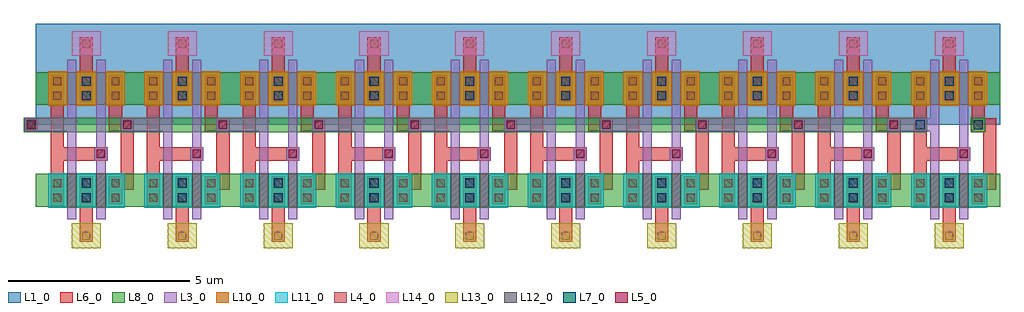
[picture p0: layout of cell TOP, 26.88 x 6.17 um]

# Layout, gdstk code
import gdstk
lib = gdstk.Library(unit=1e-6, precision=1e-09)
def R(c, l, rs):  # rectangles x0, y0, x1, y1
    for r in rs: c.add(gdstk.rectangle(r[:2], r[2:], *l))
def A(c, l, x, y, w, h, nx, ny, dx, dy):  # array of equal rectangles
    R(c, l, [(x+i*dx, y+j*dy, x+i*dx+w, y+j*dy+h) for i in range(nx) for j in range(ny)])
def P(c, l, *ps):  # polygons
    for p in ps: c.add(gdstk.Polygon(p, *l))
L1_0 = (1, 0)
L3_0 = (3, 0)
L4_0 = (4, 0)
L5_0 = (5, 0)
L6_0 = (6, 0)
L7_0 = (7, 0)
L8_0 = (8, 0)
L10_0 = (10, 0)
L11_0 = (11, 0)
L12_0 = (12, 0)
L13_0 = (13, 0)
L14_0 = (14, 0)

d_pmos = lib.new_cell('D$PMOS')

d_pmos_1 = lib.new_cell('D$PMOS$1')

d_nmos = lib.new_cell('D$NMOS')

d_nmos_1 = lib.new_cell('D$NMOS$1')

inv2 = lib.new_cell('INV2')
inv2.add(gdstk.Reference(d_pmos, (-0.4,2.8)))
inv2.add(gdstk.Reference(d_pmos_1, (0.4,2.8)))
inv2.add(gdstk.Reference(d_nmos, (-0.4,0)))
inv2.add(gdstk.Reference(d_nmos_1, (0.4,0)))

device_d_pmos_1 = lib.new_cell('DEVICE_D$PMOS$1')
R(device_d_pmos_1, L10_0, [(0.125,-0.475,0.65,0.475)])

device_d_nmos_1 = lib.new_cell('DEVICE_D$NMOS$1')
R(device_d_nmos_1, L11_0, [(0.125,-0.475,0.65,0.475)])

circuit_inv2 = lib.new_cell('CIRCUIT_INV2')
R(circuit_inv2, L4_0, [(0.69,-0.31,0.91,-0.09), (0.69,0.09,0.91,0.31), (0.69,2.49,0.91,2.71), (0.69,2.89,0.91,3.11)])
R(circuit_inv2, L6_0, [(0.62,-0.38,0.98,0.38), (0.62,2.42,0.98,3.18)])
P(circuit_inv2, L6_0, [(0.8,0.02),(0.8,0.38),(0.94,0.38),(0.94,1.62),(0.62,1.62),(0.62,2.42),(0.98,2.42),(0.98,1.98),(1.3,1.98),(1.3,0.02)])
R(circuit_inv2, L10_0, [(0.525,2.325,1.05,3.275)])
R(circuit_inv2, L11_0, [(0.525,-0.475,1.05,0.475)])
circuit_inv2.add(gdstk.Reference(device_d_pmos_1, (0.4,2.8)))
circuit_inv2.add(gdstk.Reference(device_d_nmos_1, (0.4,0)))

device_d_pmos = lib.new_cell('DEVICE_D$PMOS')
R(device_d_pmos, L3_0, [(-0.125,-0.475,0.125,0.475)])

device_d_nmos = lib.new_cell('DEVICE_D$NMOS')
R(device_d_nmos, L3_0, [(-0.125,-0.475,0.125,0.475)])

circuit_inv2_1 = lib.new_cell('CIRCUIT_INV2$1')
R(circuit_inv2_1, L3_0, [(-0.525,-0.8,-0.275,0.8), (-0.525,-0.25,-0.275,2.25), (-1.7,1.62,-0.4,1.98), (-0.525,2,-0.275,3.6)])
R(circuit_inv2_1, L5_0, [(-1.63,1.69,-1.41,1.91)])
circuit_inv2_1.add(gdstk.Reference(device_d_pmos, (-0.4,2.8)))
circuit_inv2_1.add(gdstk.Reference(device_d_nmos, (-0.4,0)))

net__5 = lib.new_cell('NET_$5')
R(net__5, L4_0, [(2.39,0.49,2.61,0.71), (2.39,0.89,2.61,1.11), (2.39,3.29,2.61,3.51), (2.39,3.69,2.61,3.91)])
net__5.add(gdstk.Reference(circuit_inv2, (1.7,0.8)))
net__5.add(gdstk.Reference(circuit_inv2_1, (4.34,0.8)))

device_d_pmos_2 = lib.new_cell('DEVICE_D$PMOS$2')
R(device_d_pmos_2, L10_0, [(-0.65,-0.475,-0.125,0.475)])

device_d_pmos_1_1 = lib.new_cell('DEVICE_D$PMOS$1$1')
R(device_d_pmos_1_1, L3_0, [(-0.125,-0.475,0.125,0.475)])

device_d_nmos_2 = lib.new_cell('DEVICE_D$NMOS$2')
R(device_d_nmos_2, L11_0, [(-0.65,-0.475,-0.125,0.475)])

device_d_nmos_1_1 = lib.new_cell('DEVICE_D$NMOS$1$1')
R(device_d_nmos_1_1, L3_0, [(-0.125,-0.475,0.125,0.475)])

net__1__3 = lib.new_cell('NET_$1:$3')
R(net__1__3, L3_0, [(1.975,0,2.225,1.6), (1.975,0.55,2.225,3.05), (1.92,1.62,2.28,1.98), (1.975,2.8,2.225,4.4)])
R(net__1__3, L4_0, [(0.79,0.49,1.01,0.71), (0.79,0.89,1.01,1.11), (0.79,3.29,1.01,3.51), (0.79,3.69,1.01,3.91)])
R(net__1__3, L5_0, [(1.99,1.69,2.21,1.91)])
R(net__1__3, L6_0, [(0.72,0.38,1.08,3.22), (0.72,0.42,1.08,1.18), (0.9,1.62,2.28,1.98), (0.72,3.22,1.08,3.98)])
R(net__1__3, L10_0, [(0.65,3.125,1.175,4.075)])
R(net__1__3, L11_0, [(0.65,0.325,1.175,1.275)])
net__1__3.add(gdstk.Reference(device_d_pmos_2, (1.3,3.6)))
net__1__3.add(gdstk.Reference(device_d_pmos_1_1, (2.1,3.6)))
net__1__3.add(gdstk.Reference(device_d_nmos_2, (1.3,0.8)))
net__1__3.add(gdstk.Reference(device_d_nmos_1_1, (2.1,0.8)))

inv2pair = lib.new_cell('INV2PAIR')
inv2pair.add(gdstk.Reference(inv2, (1.7,0.8)))
inv2pair.add(gdstk.Reference(inv2, (4.34,0.8)))
inv2pair.add(gdstk.Reference(net__5, (0,0)))
inv2pair.add(gdstk.Reference(net__1__3, (0,0)))

circuit_inv2_2 = lib.new_cell('CIRCUIT_INV2$2')
R(circuit_inv2_2, L3_0, [(0.275,-0.8,0.525,0.8), (0.275,-0.25,0.525,2.25), (0.22,0.82,0.58,1.18), (0.275,2,0.525,3.6)])
R(circuit_inv2_2, L4_0, [(-0.91,-0.31,-0.69,-0.09), (-0.91,0.09,-0.69,0.31), (-0.91,2.49,-0.69,2.71), (-0.91,2.89,-0.69,3.11)])
R(circuit_inv2_2, L5_0, [(0.29,0.89,0.51,1.11)])
R(circuit_inv2_2, L6_0, [(-0.98,-0.42,-0.62,2.42), (-0.98,-0.38,-0.62,0.38), (-0.8,0.82,0.58,1.18), (-0.98,2.42,-0.62,3.18)])
R(circuit_inv2_2, L10_0, [(-1.05,2.325,-0.525,3.275)])
R(circuit_inv2_2, L11_0, [(-1.05,-0.475,-0.525,0.475)])
circuit_inv2_2.add(gdstk.Reference(device_d_pmos_2, (-0.4,2.8)))
circuit_inv2_2.add(gdstk.Reference(device_d_pmos_1_1, (0.4,2.8)))
circuit_inv2_2.add(gdstk.Reference(device_d_nmos_2, (-0.4,0)))
circuit_inv2_2.add(gdstk.Reference(device_d_nmos_1_1, (0.4,0)))

circuit_inv2pair = lib.new_cell('CIRCUIT_INV2PAIR')
R(circuit_inv2pair, L4_0, [(3.43,0.49,3.65,0.71), (3.43,0.89,3.65,1.11), (3.43,3.29,3.65,3.51), (3.43,3.69,3.65,3.91)])
circuit_inv2pair.add(gdstk.Reference(circuit_inv2_2, (4.34,0.8)))

circuit_inv2pair_1 = lib.new_cell('CIRCUIT_INV2PAIR$1')
circuit_inv2pair_1.add(gdstk.Reference(circuit_inv2_1, (1.7,0.8)))

net_fb = lib.new_cell('NET_FB')
R(net_fb, L4_0, [(22.85,-0.31,23.07,-0.09), (22.85,0.09,23.07,0.31), (22.85,2.49,23.07,2.71), (22.85,2.89,23.07,3.11)])
R(net_fb, L6_0, [(-1.7,1.62,-1.34,1.98)])
R(net_fb, L7_0, [(-1.645,1.675,-1.395,1.925), (22.835,1.675,23.085,1.925)])
R(net_fb, L8_0, [(-1.72,1.6,23.16,2)])
net_fb.add(gdstk.Reference(circuit_inv2pair, (19.42,-0.8)))
net_fb.add(gdstk.Reference(circuit_inv2pair_1, (-1.7,-0.8)))

circuit_inv2pair_2 = lib.new_cell('CIRCUIT_INV2PAIR$2')
R(circuit_inv2pair_2, L4_0, [(5.03,0.49,5.25,0.71), (5.03,0.89,5.25,1.11), (5.03,3.29,5.25,3.51), (5.03,3.69,5.25,3.91)])
circuit_inv2pair_2.add(gdstk.Reference(circuit_inv2, (4.34,0.8)))

net_osc = lib.new_cell('NET_OSC')
R(net_osc, L4_0, [(24.45,-0.31,24.67,-0.09), (24.45,0.09,24.67,0.31), (24.45,2.49,24.67,2.71), (24.45,2.89,24.67,3.11)])
R(net_osc, L7_0, [(24.435,1.675,24.685,1.925)])
R(net_osc, L8_0, [(24.36,1.6,24.76,2)])
net_osc.add(gdstk.Reference(circuit_inv2pair_2, (19.42,-0.8)))

device_d_pmos_3 = lib.new_cell('DEVICE_D$PMOS$3')
R(device_d_pmos_3, L10_0, [(0.125,-0.475,0.675,0.475)])

device_d_pmos_1_2 = lib.new_cell('DEVICE_D$PMOS$1$2')
R(device_d_pmos_1_2, L10_0, [(-0.675,-0.475,-0.125,0.475)])

circuit_inv2_3 = lib.new_cell('CIRCUIT_INV2$3')
R(circuit_inv2_3, L4_0, [(-0.11,2.49,0.11,2.71), (-0.11,2.49,0.11,2.71), (-0.11,2.89,0.11,3.11), (-0.11,2.89,0.11,3.11)])
R(circuit_inv2_3, L6_0, [(-0.18,2.42,0.18,3.18), (-0.18,2.42,0.18,3.18)])
R(circuit_inv2_3, L7_0, [(-0.125,2.475,0.125,2.725), (-0.125,2.875,0.125,3.125)])
R(circuit_inv2_3, L8_0, [(-1.4,2.35,1.4,3.25)])
R(circuit_inv2_3, L10_0, [(-0.275,2.325,0.275,3.275)])
circuit_inv2_3.add(gdstk.Reference(device_d_pmos_3, (-0.4,2.8)))
circuit_inv2_3.add(gdstk.Reference(device_d_pmos_1_2, (0.4,2.8)))

circuit_inv2pair_3 = lib.new_cell('CIRCUIT_INV2PAIR$3')
R(circuit_inv2pair_3, L4_0, [(1.59,3.29,1.81,3.51), (1.59,3.29,1.81,3.51), (4.23,3.29,4.45,3.51), (4.23,3.29,4.45,3.51), (1.59,3.69,1.81,3.91), (1.59,3.69,1.81,3.91), (4.23,3.69,4.45,3.91), (4.23,3.69,4.45,3.91)])
R(circuit_inv2pair_3, L6_0, [(1.52,3.22,1.88,3.98), (1.52,3.22,1.88,3.98), (4.16,3.22,4.52,3.98), (4.16,3.22,4.52,3.98)])
circuit_inv2pair_3.add(gdstk.Reference(circuit_inv2_3, (1.7,0.8)))
circuit_inv2pair_3.add(gdstk.Reference(circuit_inv2_3, (4.34,0.8)))

device_d_pmos_4 = lib.new_cell('DEVICE_D$PMOS$4')
R(device_d_pmos_4, L1_0, [(-0.125,-0.475,0.125,0.475)])

device_d_pmos_1_3 = lib.new_cell('DEVICE_D$PMOS$1$3')
R(device_d_pmos_1_3, L1_0, [(-0.125,-0.475,0.125,0.475)])

circuit_inv2_4 = lib.new_cell('CIRCUIT_INV2$4')
R(circuit_inv2_4, L1_0, [(-1.4,1.8,1.4,4.58)])
R(circuit_inv2_4, L4_0, [(-0.11,3.93,0.11,4.15)])
R(circuit_inv2_4, L14_0, [(-0.4,3.7,0.4,4.38)])
circuit_inv2_4.add(gdstk.Reference(device_d_pmos_4, (-0.4,2.8)))
circuit_inv2_4.add(gdstk.Reference(device_d_pmos_1_3, (0.4,2.8)))

circuit_inv2pair_4 = lib.new_cell('CIRCUIT_INV2PAIR$4')
circuit_inv2pair_4.add(gdstk.Reference(circuit_inv2_4, (1.7,0.8)))
circuit_inv2pair_4.add(gdstk.Reference(circuit_inv2_4, (4.34,0.8)))

net_vdd = lib.new_cell('NET_VDD')
R(net_vdd, L4_0, [(-0.11,2.49,0.11,2.71), (-0.11,2.49,0.11,2.71), (2.53,2.49,2.75,2.71), (2.53,2.49,2.75,2.71), (5.17,2.49,5.39,2.71), (5.17,2.49,5.39,2.71), (7.81,2.49,8.03,2.71), (7.81,2.49,8.03,2.71), (10.45,2.49,10.67,2.71), (10.45,2.49,10.67,2.71), (13.09,2.49,13.31,2.71), (13.09,2.49,13.31,2.71), (15.73,2.49,15.95,2.71), (15.73,2.49,15.95,2.71), (18.37,2.49,18.59,2.71), (18.37,2.49,18.59,2.71), (21.01,2.49,21.23,2.71), (21.01,2.49,21.23,2.71), (23.65,2.49,23.87,2.71), (23.65,2.49,23.87,2.71), (-0.11,2.89,0.11,3.11), (-0.11,2.89,0.11,3.11), (2.53,2.89,2.75,3.11), (2.53,2.89,2.75,3.11), (5.17,2.89,5.39,3.11), (5.17,2.89,5.39,3.11), (7.81,2.89,8.03,3.11), (7.81,2.89,8.03,3.11), (10.45,2.89,10.67,3.11), (10.45,2.89,10.67,3.11), (13.09,2.89,13.31,3.11), (13.09,2.89,13.31,3.11), (15.73,2.89,15.95,3.11), (15.73,2.89,15.95,3.11), (18.37,2.89,18.59,3.11), (18.37,2.89,18.59,3.11), (21.01,2.89,21.23,3.11), (21.01,2.89,21.23,3.11), (23.65,2.89,23.87,3.11), (23.65,2.89,23.87,3.11)])
A(net_vdd, L6_0, -0.18, 3.1, 0.36, 1.12, 10, 1, 2.64, 0)
R(net_vdd, L6_0, [(-0.18,2.42,0.18,3.18), (-0.18,2.42,0.18,3.18), (2.46,2.42,2.82,3.18), (2.46,2.42,2.82,3.18), (5.1,2.42,5.46,3.18), (5.1,2.42,5.46,3.18), (7.74,2.42,8.1,3.18), (7.74,2.42,8.1,3.18), (10.38,2.42,10.74,3.18), (10.38,2.42,10.74,3.18), (13.02,2.42,13.38,3.18), (13.02,2.42,13.38,3.18), (15.66,2.42,16.02,3.18), (15.66,2.42,16.02,3.18), (18.3,2.42,18.66,3.18), (18.3,2.42,18.66,3.18), (20.94,2.42,21.3,3.18), (20.94,2.42,21.3,3.18), (23.58,2.42,23.94,3.18), (23.58,2.42,23.94,3.18)])
net_vdd.add(gdstk.Reference(circuit_inv2pair_3, (19.42,-0.8)))
net_vdd.add(gdstk.Reference(circuit_inv2pair_4, (19.42,-0.8)))
net_vdd.add(gdstk.Reference(circuit_inv2pair_3, (-1.7,-0.8)))
net_vdd.add(gdstk.Reference(circuit_inv2pair_4, (-1.7,-0.8)))
net_vdd.add(gdstk.Reference(circuit_inv2pair_3, (3.58,-0.8)))
net_vdd.add(gdstk.Reference(circuit_inv2pair_4, (3.58,-0.8)))
net_vdd.add(gdstk.Reference(circuit_inv2pair_3, (8.86,-0.8)))
net_vdd.add(gdstk.Reference(circuit_inv2pair_4, (8.86,-0.8)))
net_vdd.add(gdstk.Reference(circuit_inv2pair_3, (14.14,-0.8)))
net_vdd.add(gdstk.Reference(circuit_inv2pair_4, (14.14,-0.8)))

device_d_nmos_3 = lib.new_cell('DEVICE_D$NMOS$3')
R(device_d_nmos_3, L12_0, [(-0.125,-0.475,0.125,0.475)])

device_d_nmos_1_2 = lib.new_cell('DEVICE_D$NMOS$1$2')
R(device_d_nmos_1_2, L12_0, [(-0.125,-0.475,0.125,0.475)])

circuit_inv2_5 = lib.new_cell('CIRCUIT_INV2$5')
R(circuit_inv2_5, L4_0, [(-0.11,-1.36,0.11,-1.14)])
R(circuit_inv2_5, L13_0, [(-0.4,-1.59,0.4,-0.91)])
circuit_inv2_5.add(gdstk.Reference(device_d_nmos_3, (-0.4,0)))
circuit_inv2_5.add(gdstk.Reference(device_d_nmos_1_2, (0.4,0)))

circuit_inv2pair_5 = lib.new_cell('CIRCUIT_INV2PAIR$5')
circuit_inv2pair_5.add(gdstk.Reference(circuit_inv2_5, (1.7,0.8)))
circuit_inv2pair_5.add(gdstk.Reference(circuit_inv2_5, (4.34,0.8)))

device_d_nmos_4 = lib.new_cell('DEVICE_D$NMOS$4')
R(device_d_nmos_4, L11_0, [(0.125,-0.475,0.675,0.475)])

device_d_nmos_1_3 = lib.new_cell('DEVICE_D$NMOS$1$3')
R(device_d_nmos_1_3, L11_0, [(-0.675,-0.475,-0.125,0.475)])

circuit_inv2_6 = lib.new_cell('CIRCUIT_INV2$6')
R(circuit_inv2_6, L4_0, [(-0.11,-0.31,0.11,-0.09), (-0.11,-0.31,0.11,-0.09), (-0.11,0.09,0.11,0.31), (-0.11,0.09,0.11,0.31)])
R(circuit_inv2_6, L6_0, [(-0.18,-0.38,0.18,0.38), (-0.18,-0.38,0.18,0.38)])
R(circuit_inv2_6, L7_0, [(-0.125,-0.325,0.125,-0.075), (-0.125,0.075,0.125,0.325)])
R(circuit_inv2_6, L8_0, [(-1.4,-0.45,1.4,0.45)])
R(circuit_inv2_6, L11_0, [(-0.275,-0.475,0.275,0.475)])
circuit_inv2_6.add(gdstk.Reference(device_d_nmos_4, (-0.4,0)))
circuit_inv2_6.add(gdstk.Reference(device_d_nmos_1_3, (0.4,0)))

circuit_inv2pair_6 = lib.new_cell('CIRCUIT_INV2PAIR$6')
R(circuit_inv2pair_6, L4_0, [(1.59,0.49,1.81,0.71), (1.59,0.49,1.81,0.71), (4.23,0.49,4.45,0.71), (4.23,0.49,4.45,0.71), (1.59,0.89,1.81,1.11), (1.59,0.89,1.81,1.11), (4.23,0.89,4.45,1.11), (4.23,0.89,4.45,1.11)])
R(circuit_inv2pair_6, L6_0, [(1.52,0.42,1.88,1.18), (1.52,0.42,1.88,1.18), (4.16,0.42,4.52,1.18), (4.16,0.42,4.52,1.18)])
circuit_inv2pair_6.add(gdstk.Reference(circuit_inv2_6, (1.7,0.8)))
circuit_inv2pair_6.add(gdstk.Reference(circuit_inv2_6, (4.34,0.8)))

net_vss = lib.new_cell('NET_VSS')
R(net_vss, L4_0, [(-0.11,-0.31,0.11,-0.09), (-0.11,-0.31,0.11,-0.09), (2.53,-0.31,2.75,-0.09), (2.53,-0.31,2.75,-0.09), (5.17,-0.31,5.39,-0.09), (5.17,-0.31,5.39,-0.09), (7.81,-0.31,8.03,-0.09), (7.81,-0.31,8.03,-0.09), (10.45,-0.31,10.67,-0.09), (10.45,-0.31,10.67,-0.09), (13.09,-0.31,13.31,-0.09), (13.09,-0.31,13.31,-0.09), (15.73,-0.31,15.95,-0.09), (15.73,-0.31,15.95,-0.09), (18.37,-0.31,18.59,-0.09), (18.37,-0.31,18.59,-0.09), (21.01,-0.31,21.23,-0.09), (21.01,-0.31,21.23,-0.09), (23.65,-0.31,23.87,-0.09), (23.65,-0.31,23.87,-0.09), (-0.11,0.09,0.11,0.31), (-0.11,0.09,0.11,0.31), (2.53,0.09,2.75,0.31), (2.53,0.09,2.75,0.31), (5.17,0.09,5.39,0.31), (5.17,0.09,5.39,0.31), (7.81,0.09,8.03,0.31), (7.81,0.09,8.03,0.31), (10.45,0.09,10.67,0.31), (10.45,0.09,10.67,0.31), (13.09,0.09,13.31,0.31), (13.09,0.09,13.31,0.31), (15.73,0.09,15.95,0.31), (15.73,0.09,15.95,0.31), (18.37,0.09,18.59,0.31), (18.37,0.09,18.59,0.31), (21.01,0.09,21.23,0.31), (21.01,0.09,21.23,0.31), (23.65,0.09,23.87,0.31), (23.65,0.09,23.87,0.31)])
A(net_vss, L6_0, -0.18, -1.42, 0.36, 1.12, 10, 1, 2.64, 0)
R(net_vss, L6_0, [(-0.18,-0.38,0.18,0.38), (-0.18,-0.38,0.18,0.38), (2.46,-0.38,2.82,0.38), (2.46,-0.38,2.82,0.38), (5.1,-0.38,5.46,0.38), (5.1,-0.38,5.46,0.38), (7.74,-0.38,8.1,0.38), (7.74,-0.38,8.1,0.38), (10.38,-0.38,10.74,0.38), (10.38,-0.38,10.74,0.38), (13.02,-0.38,13.38,0.38), (13.02,-0.38,13.38,0.38), (15.66,-0.38,16.02,0.38), (15.66,-0.38,16.02,0.38), (18.3,-0.38,18.66,0.38), (18.3,-0.38,18.66,0.38), (20.94,-0.38,21.3,0.38), (20.94,-0.38,21.3,0.38), (23.58,-0.38,23.94,0.38), (23.58,-0.38,23.94,0.38)])
net_vss.add(gdstk.Reference(circuit_inv2pair_5, (19.42,-0.8)))
net_vss.add(gdstk.Reference(circuit_inv2pair_6, (19.42,-0.8)))
net_vss.add(gdstk.Reference(circuit_inv2pair_5, (-1.7,-0.8)))
net_vss.add(gdstk.Reference(circuit_inv2pair_6, (-1.7,-0.8)))
net_vss.add(gdstk.Reference(circuit_inv2pair_5, (3.58,-0.8)))
net_vss.add(gdstk.Reference(circuit_inv2pair_6, (3.58,-0.8)))
net_vss.add(gdstk.Reference(circuit_inv2pair_5, (8.86,-0.8)))
net_vss.add(gdstk.Reference(circuit_inv2pair_6, (8.86,-0.8)))
net_vss.add(gdstk.Reference(circuit_inv2pair_5, (14.14,-0.8)))
net_vss.add(gdstk.Reference(circuit_inv2pair_6, (14.14,-0.8)))

net__5_1 = lib.new_cell('NET_$5$1')
R(net__5_1, L4_0, [(3.33,-0.31,3.55,-0.09), (3.33,0.09,3.55,0.31), (3.33,2.49,3.55,2.71), (3.33,2.89,3.55,3.11)])
net__5_1.add(gdstk.Reference(circuit_inv2pair_2, (-1.7,-0.8)))
net__5_1.add(gdstk.Reference(circuit_inv2pair_1, (3.58,-0.8)))

net__6 = lib.new_cell('NET_$6')
R(net__6, L4_0, [(19.17,-0.31,19.39,-0.09), (19.17,0.09,19.39,0.31), (19.17,2.49,19.39,2.71), (19.17,2.89,19.39,3.11)])
net__6.add(gdstk.Reference(circuit_inv2pair_1, (19.42,-0.8)))
net__6.add(gdstk.Reference(circuit_inv2pair_2, (14.14,-0.8)))

net__7 = lib.new_cell('NET_$7')
R(net__7, L4_0, [(13.89,-0.31,14.11,-0.09), (13.89,0.09,14.11,0.31), (13.89,2.49,14.11,2.71), (13.89,2.89,14.11,3.11)])
net__7.add(gdstk.Reference(circuit_inv2pair_2, (8.86,-0.8)))
net__7.add(gdstk.Reference(circuit_inv2pair_1, (14.14,-0.8)))

net__8 = lib.new_cell('NET_$8')
R(net__8, L4_0, [(8.61,-0.31,8.83,-0.09), (8.61,0.09,8.83,0.31), (8.61,2.49,8.83,2.71), (8.61,2.89,8.83,3.11)])
net__8.add(gdstk.Reference(circuit_inv2pair_2, (3.58,-0.8)))
net__8.add(gdstk.Reference(circuit_inv2pair_1, (8.86,-0.8)))

net__2__2 = lib.new_cell('NET_$2:$2')
R(net__2__2, L4_0, [(1.73,-0.31,1.95,-0.09), (1.73,0.09,1.95,0.31), (1.73,2.49,1.95,2.71), (1.73,2.89,1.95,3.11)])
net__2__2.add(gdstk.Reference(circuit_inv2_2, (2.64,0)))

net__3__2 = lib.new_cell('NET_$3:$2')
R(net__3__2, L4_0, [(7.01,-0.31,7.23,-0.09), (7.01,0.09,7.23,0.31), (7.01,2.49,7.23,2.71), (7.01,2.89,7.23,3.11)])
net__3__2.add(gdstk.Reference(circuit_inv2_2, (7.92,0)))

net__4__2 = lib.new_cell('NET_$4:$2')
R(net__4__2, L4_0, [(12.29,-0.31,12.51,-0.09), (12.29,0.09,12.51,0.31), (12.29,2.49,12.51,2.71), (12.29,2.89,12.51,3.11)])
net__4__2.add(gdstk.Reference(circuit_inv2_2, (13.2,0)))

net__5__2 = lib.new_cell('NET_$5:$2')
R(net__5__2, L4_0, [(17.57,-0.31,17.79,-0.09), (17.57,0.09,17.79,0.31), (17.57,2.49,17.79,2.71), (17.57,2.89,17.79,3.11)])
net__5__2.add(gdstk.Reference(circuit_inv2_2, (18.48,0)))

top = lib.new_cell('TOP')
top.add(gdstk.Reference(inv2pair, (19.42,-0.8)))
top.add(gdstk.Reference(inv2pair, (-1.7,-0.8)))
top.add(gdstk.Reference(inv2pair, (3.58,-0.8)))
top.add(gdstk.Reference(inv2pair, (8.86,-0.8)))
top.add(gdstk.Reference(inv2pair, (14.14,-0.8)))
top.add(gdstk.Reference(net_fb, (0,0)))
top.add(gdstk.Reference(net_osc, (0,0)))
top.add(gdstk.Reference(net_vdd, (0,0)))
top.add(gdstk.Reference(net_vss, (0,0)))
top.add(gdstk.Reference(net__5_1, (0,0)))
top.add(gdstk.Reference(net__6, (0,0)))
top.add(gdstk.Reference(net__7, (0,0)))
top.add(gdstk.Reference(net__8, (0,0)))
top.add(gdstk.Reference(net__2__2, (0,0)))
top.add(gdstk.Reference(net__3__2, (0,0)))
top.add(gdstk.Reference(net__4__2, (0,0)))
top.add(gdstk.Reference(net__5__2, (0,0)))

lib.write_gds('TOP.gds')
